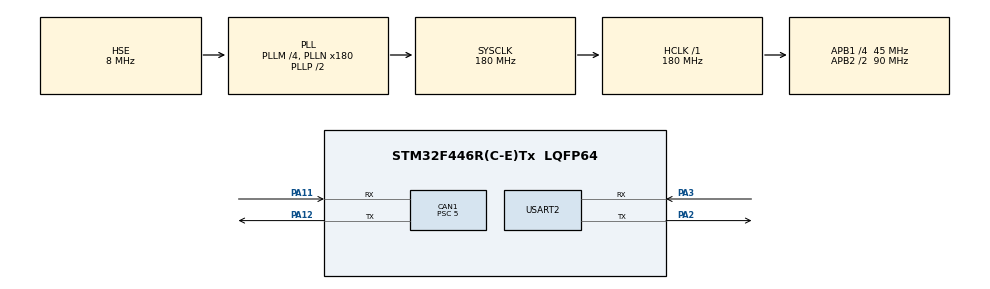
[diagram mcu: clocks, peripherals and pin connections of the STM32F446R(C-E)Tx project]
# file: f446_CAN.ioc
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CAN1.BS1=CAN_BS1_15TQ
CAN1.BS2=CAN_BS2_2TQ
CAN1.CalculateBaudRate=500000
CAN1.CalculateTimeBit=2000
CAN1.CalculateTimeQuantum=111.11111111111111
CAN1.Prescaler=5
Mcu.Family=STM32F4
Mcu.Name=STM32F446R(C-E)Tx
Mcu.Package=LQFP64
NVIC.CAN1_RX0_IRQn=true\:0\:0\:false\:false\:true\:true\:true\:true
NVIC.PriorityGroup=NVIC_PRIORITYGROUP_0
PA11.Mode=CAN_Activate
PA11.Signal=CAN1_RX
PA12.Mode=CAN_Activate
PA12.Signal=CAN1_TX
PA2.Mode=Asynchronous
PA2.Signal=USART2_TX
PA3.Mode=Asynchronous
PA3.Signal=USART2_RX
PH0-OSC_IN.Mode=HSE-External-Oscillator
PH0-OSC_IN.Signal=RCC_OSC_IN
PH1-OSC_OUT.Mode=HSE-External-Oscillator
PH1-OSC_OUT.Signal=RCC_OSC_OUT
ProjectManager.HeapSize=0x200
ProjectManager.StackSize=0x400
ProjectManager.TargetToolchain=STM32CubeIDE
RCC.48MHZClocksFreq_Value=84000000
RCC.AHBFreq_Value=180000000
RCC.APB1CLKDivider=RCC_HCLK_DIV4
RCC.APB1Freq_Value=45000000
RCC.APB1TimFreq_Value=90000000
RCC.APB2CLKDivider=RCC_HCLK_DIV2
RCC.APB2Freq_Value=90000000
RCC.APB2TimFreq_Value=180000000
RCC.CortexFreq_Value=180000000
RCC.FLatency-AdvancedSettings=FLASH_LATENCY_5
RCC.HCLKFreq_Value=180000000
RCC.HSE_VALUE=8000000
RCC.HSI_VALUE=16000000
RCC.PLLM=4
RCC.PLLN=180
RCC.PLLSourceVirtual=RCC_PLLSOURCE_HSE
RCC.SYSCLKFreq_VALUE=180000000
RCC.SYSCLKSource=RCC_SYSCLKSOURCE_PLLCLK
RCC.USBFreq_Value=180000000
RCC.VCOOutputFreq_Value=360000000
USART2.VirtualMode=VM_ASYNC
board=NUCLEO-F446RE

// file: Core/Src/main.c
/* USER CODE BEGIN Header */
/**
  ******************************************************************************
  * @file           : main.c
  * @brief          : Main program body
  ******************************************************************************
  * @attention
  *
  * Copyright (c) 2026 STMicroelectronics.
  * All rights reserved.
  *
  * This software is licensed under terms that can be found in the LICENSE file
  * in the root directory of this software component.
  * If no LICENSE file comes with this software, it is provided AS-IS.
  *
  ******************************************************************************
  */
/* USER CODE END Header */
#include "main.h"

CAN_HandleTypeDef hcan1;

UART_HandleTypeDef huart2;

/* USER CODE BEGIN PV */

RNG_STATETypedef rng;

char buff[1200];

uint32_t start = 0, end = 0, totaltime = 0;
extern char decrypted[length_rsa];

CAN_RxHeaderTypeDef canRx;
CAN_TxHeaderTypeDef canTx;

uint32_t mailbox = 0;

uint8_t rxData[8] = {0};
uint8_t txData[8] = {0};

bool handShake = false;
bool ivRecieved = false;
bool sizeRecieved = false;
bool EncDataRec = false;

uint8_t key128[16] = {0};
uint8_t key192[24] = {0};
uint8_t key256[32] = {0};
uint8_t itr = 0;
uint8_t itrrr = 0;

uint8_t aes128IV[16] = {0};

uint8_t masterKey128[16] = {
		0x2b, 0x7e, 0x15, 0x16,
	    0x28, 0xae, 0xd2, 0xa6,
	    0xab, 0xf7, 0x15, 0x88,
	    0x09, 0xcf, 0x4f, 0x3c
};

uint16_t aesDataSize = 0;

uint8_t Encrypted128Data[64];

uint8_t Decrypted128Data[180] = {0};

size_t CBCDecryptData128Size = 0;

/* USER CODE END PV */

void SystemClock_Config(void);
static void MX_GPIO_Init(void);
static void MX_CAN1_Init(void);
static void MX_USART2_UART_Init(void);
/* USER CODE BEGIN PFP */

void CANTransmit(CAN_TxHeaderTypeDef* tx, uint8_t* data);

/* USER CODE END PFP */

/* USER CODE BEGIN 0 */

void CANACKHandshake(){

	canTx.IDE = CAN_ID_EXT;
	canTx.ExtId = 0x01; // For Handshake !
	canTx.DLC = 8;

	for(uint8_t i = 0; i < 8; i++)	txData[i] = 0x01;

	CANTransmit(&canTx, txData);

	handShake = false;

}

/* USER CODE END 0 */

int main(void)
{

  /* MCU Configuration--------------------------------------------------------*/

  /* Reset of all peripherals, Initializes the Flash interface and the Systick. */
  HAL_Init();

  /* Configure the system clock */

  SystemClock_Config();

  /* Initialize all configured peripherals */

  MX_GPIO_Init();
  MX_CAN1_Init();
  MX_USART2_UART_Init();

  /* USER CODE BEGIN 2 */
  filter_config();

//  RNGSeed(&rng, 0, 0, 0, 0);
//  RNGByte(&rng, key128, sizeof(key128));
//
//  for(uint32_t i = 0; i < sizeof(key128); i++ ){
//	  sprintf(buff, "Key op 128 -> 0x%02X \r\n", key128[i]);
//	  HAL_UART_Transmit(&huart2, (uint8_t *)buff, strlen(buff), HAL_MAX_DELAY);
//  }

  /* USER CODE END 2 */

  /* Infinite loop */
  /* USER CODE BEGIN WHILE */
  while (1)
  {

	if(handShake == true)	CANACKHandshake();

	if(ivRecieved == true && sizeRecieved == true && EncDataRec == true){

		if(AES128_Decrypt(AES_CBC_DEC, Encrypted128Data, sizeof(Encrypted128Data), masterKey128, aes128IV, Decrypted128Data, &CBCDecryptData128Size) != success)    printf("\nAES128 CBC Cipher Decrypt Failed\n");
	    else    printf("\nAES128 CBC Cipher Decrypt Success\n");

	    outputprint(CBCDecryptData128Size, Decrypted128Data);

	}

	/* USER CODE END WHILE */

  }
}

void SystemClock_Config(void)
{
  RCC_OscInitTypeDef RCC_OscInitStruct = {0};
  RCC_ClkInitTypeDef RCC_ClkInitStruct = {0};

  /** Configure the main internal regulator output voltage
  */
  __HAL_RCC_PWR_CLK_ENABLE();
  __HAL_PWR_VOLTAGESCALING_CONFIG(PWR_REGULATOR_VOLTAGE_SCALE1);

  /** Initializes the RCC Oscillators according to the specified parameters
  * in the RCC_OscInitTypeDef structure.
  */
  RCC_OscInitStruct.OscillatorType = RCC_OSCILLATORTYPE_HSE;
  RCC_OscInitStruct.HSEState = RCC_HSE_ON;
  RCC_OscInitStruct.PLL.PLLState = RCC_PLL_ON;
  RCC_OscInitStruct.PLL.PLLSource = RCC_PLLSOURCE_HSE;
  RCC_OscInitStruct.PLL.PLLM = 4;
  RCC_OscInitStruct.PLL.PLLN = 180;
  RCC_OscInitStruct.PLL.PLLP = RCC_PLLP_DIV2;
  RCC_OscInitStruct.PLL.PLLQ = 2;
  RCC_OscInitStruct.PLL.PLLR = 2;
  if (HAL_RCC_OscConfig(&RCC_OscInitStruct) != HAL_OK)
  {
    Error_Handler();
  }

  /** Activate the Over-Drive mode
  */
  if (HAL_PWREx_EnableOverDrive() != HAL_OK)
  {
    Error_Handler();
  }

  /** Initializes the CPU, AHB and APB buses clocks
  */
  RCC_ClkInitStruct.ClockType = RCC_CLOCKTYPE_HCLK|RCC_CLOCKTYPE_SYSCLK
                              |RCC_CLOCKTYPE_PCLK1|RCC_CLOCKTYPE_PCLK2;
  RCC_ClkInitStruct.SYSCLKSource = RCC_SYSCLKSOURCE_PLLCLK;
  RCC_ClkInitStruct.AHBCLKDivider = RCC_SYSCLK_DIV1;
  RCC_ClkInitStruct.APB1CLKDivider = RCC_HCLK_DIV4;
  RCC_ClkInitStruct.APB2CLKDivider = RCC_HCLK_DIV2;

  if (HAL_RCC_ClockConfig(&RCC_ClkInitStruct, FLASH_LATENCY_5) != HAL_OK)
  {
    Error_Handler();
  }
}

static void MX_CAN1_Init(void)
{

  hcan1.Instance = CAN1;
  hcan1.Init.Prescaler = 5;
  hcan1.Init.Mode = CAN_MODE_NORMAL;
  hcan1.Init.SyncJumpWidth = CAN_SJW_1TQ;
  hcan1.Init.TimeSeg1 = CAN_BS1_15TQ;
  hcan1.Init.TimeSeg2 = CAN_BS2_2TQ;
  hcan1.Init.TimeTriggeredMode = DISABLE;
  hcan1.Init.AutoBusOff = DISABLE;
  hcan1.Init.AutoWakeUp = DISABLE;
  hcan1.Init.AutoRetransmission = DISABLE;
  hcan1.Init.ReceiveFifoLocked = DISABLE;
  hcan1.Init.TransmitFifoPriority = DISABLE;
  if (HAL_CAN_Init(&hcan1) != HAL_OK)
  {
    Error_Handler();
  }

}

static void MX_USART2_UART_Init(void)
{

  huart2.Instance = USART2;
  huart2.Init.BaudRate = 115200;
  huart2.Init.WordLength = UART_WORDLENGTH_8B;
  huart2.Init.StopBits = UART_STOPBITS_1;
  huart2.Init.Parity = UART_PARITY_NONE;
  huart2.Init.Mode = UART_MODE_TX_RX;
  huart2.Init.HwFlowCtl = UART_HWCONTROL_NONE;
  huart2.Init.OverSampling = UART_OVERSAMPLING_16;
  if (HAL_UART_Init(&huart2) != HAL_OK)
  {
    Error_Handler();
  }

}

static void MX_GPIO_Init(void)
{

  /* GPIO Ports Clock Enable */
  __HAL_RCC_GPIOH_CLK_ENABLE();
  __HAL_RCC_GPIOA_CLK_ENABLE();

}

/* USER CODE BEGIN 4 */

void CANTransmit(CAN_TxHeaderTypeDef* tx, uint8_t* data){

	if(HAL_CAN_AddTxMessage(&hcan1, tx, data, &mailbox) != HAL_OK){
		Error_Handler();
	}

}

void HAL_CAN_RxFifo0MsgPendingCallback(CAN_HandleTypeDef *hcan){

	if(HAL_CAN_GetRxMessage(&hcan1, CAN_RX_FIFO0, &canRx, rxData) != HAL_OK){
		Error_Handler();
	}

	if(canRx.ExtId == 0x10){
		handShake = true;
	}

	if(canRx.ExtId == 0x11 || canRx.ExtId == 0x12){

		for(uint8_t i = 0; i < 8; i++)  aes128IV[itr++] = rxData[i];

		if(canRx.ExtId == 0x12){
			ivRecieved = true;
		}

	}

	if(canRx.ExtId == 0x13){
		aesDataSize = ((uint16_t)rxData[0] << 8 | rxData[1]);
		sizeRecieved = true;
	}

	if(canRx.ExtId == 0x14 || canRx.ExtId == 0x15 || canRx.ExtId == 0x16 || canRx.ExtId == 0x17
	|| canRx.ExtId == 0x18 || canRx.ExtId == 0x19 || canRx.ExtId == 0x1A || canRx.ExtId == 0x1B ){

		for(uint8_t i = 0; i < 8; i++){
			Encrypted128Data[itrrr++] = rxData[i];
		}
		if(canRx.ExtId == 0x1B)	EncDataRec = true;
	}

}
/* USER CODE END 4 */

void Error_Handler(void)
{
  __disable_irq();
  while (1)
  {
  }
}
